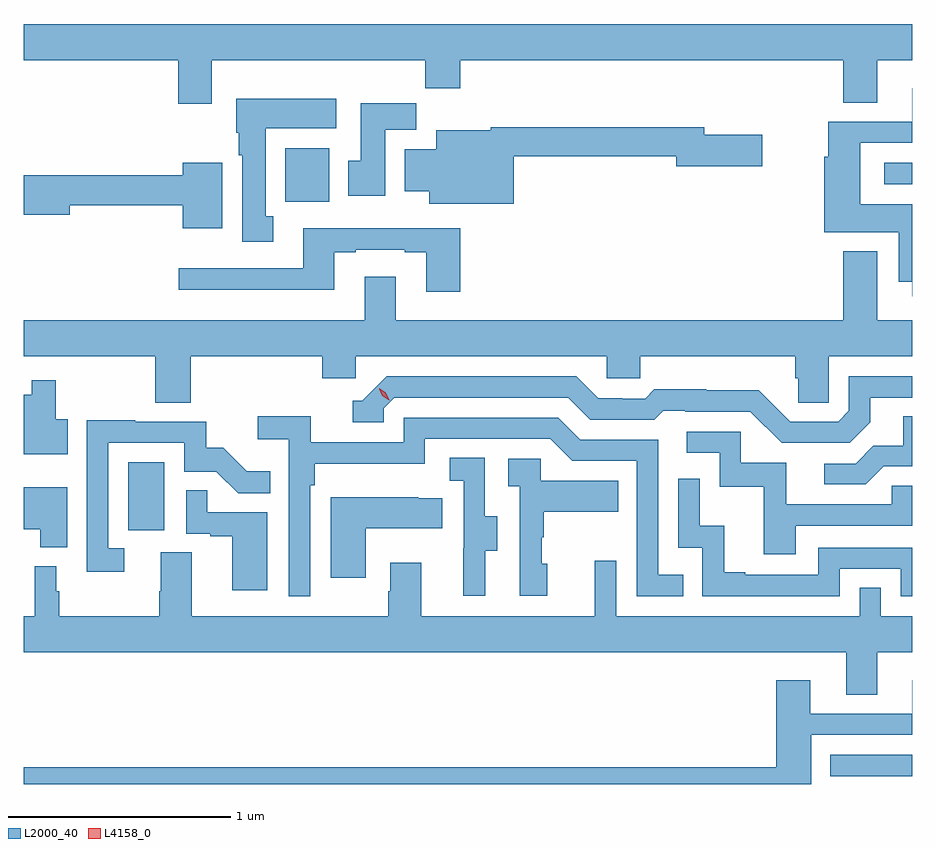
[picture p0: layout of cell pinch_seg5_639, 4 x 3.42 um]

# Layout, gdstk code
import gdstk
lib = gdstk.Library(unit=1e-6, precision=1e-09)
def R(c, l, rs):  # rectangles x0, y0, x1, y1
    for r in rs: c.add(gdstk.rectangle(r[:2], r[2:], *l))
def P(c, l, *ps):  # polygons
    for p in ps: c.add(gdstk.Polygon(p, *l))
L2000_40 = (2000, 40)
L4158_0 = (4158, 0)

pinch_seg5_639 = lib.new_cell('pinch_seg5_639')
R(pinch_seg5_639, L2000_40, [(1036.499,856.203,1036.87,856.299), (1033.34,857.31,1033.504,857.617), (1034.048,858.788,1034.245,859.03), (1036.743,858.867,1036.87,858.963)])
P(pinch_seg5_639, L2000_40, [(1033.717,859.424),(1034.677,859.424),(1034.677,859.3),(1034.834,859.3),(1034.834,859.424),(1036.559,859.424),(1036.559,859.234),(1036.711,859.234),(1036.711,859.424),(1036.87,859.424),(1036.87,859.588),(1032.87,859.588),(1032.87,859.424),(1033.565,859.424),(1033.565,859.23),(1033.717,859.23)],
  [(1036.87,858.778),(1036.636,858.778),(1036.636,859.053),(1036.87,859.053),(1036.87,859.3),(1036.868,859.3),(1036.868,859.149),(1036.49,859.149),(1036.49,858.99),(1036.472,858.99),(1036.472,858.65),(1036.808,858.65),(1036.808,858.428),(1036.868,858.428),(1036.868,858.363),(1036.87,858.363)],
  [(1033.993,858.722),(1033.96,858.722),(1033.96,859.118),(1034.278,859.118),(1034.278,859.252),(1033.826,859.252),(1033.826,859.098),(1033.838,859.098),(1033.838,858.998),(1033.853,858.998),(1033.853,858.609),(1033.993,858.609)],
  [(1034.497,859.112),(1034.636,859.112),(1034.636,859.231),(1034.387,859.231),(1034.387,858.972),(1034.33,858.972),(1034.33,858.816),(1034.497,858.816)],
  [(1035.076,858.994),(1035.806,858.994),(1035.806,858.947),(1036.195,858.947),(1036.195,859.089),(1035.934,859.089),(1035.934,859.123),(1034.972,859.123),(1034.972,859.111),(1034.726,859.111),(1034.726,859.024),(1034.585,859.024),(1034.585,858.836),(1034.696,858.836),(1034.696,858.779),(1035.076,858.779)],
  [(1033.765,858.964),(1033.586,858.964),(1033.586,858.908),(1032.87,858.908),(1032.87,858.73),(1033.078,858.73),(1033.078,858.772),(1033.586,858.772),(1033.586,858.668),(1033.765,858.668)],
  [(1034.834,858.67),(1034.129,858.67),(1034.129,858.489),(1033.569,858.489),(1033.569,858.392),(1034.269,858.392),(1034.269,858.561),(1034.365,858.561),(1034.365,858.573),(1034.585,858.573),(1034.585,858.561),(1034.681,858.561),(1034.681,858.384),(1034.834,858.384)],
  [(1035.495,857.994),(1035.645,857.994),(1035.645,858.092),(1036.343,858.092),(1036.343,857.994),(1036.357,857.994),(1036.357,857.884),(1036.494,857.884),(1036.494,858.092),(1036.87,858.092),(1036.87,858.256),(1036.711,858.256),(1036.711,858.565),(1036.559,858.565),(1036.559,858.256),(1034.545,858.256),(1034.545,858.451),(1034.405,858.451),(1034.405,858.256),(1032.87,858.256),(1032.87,858.092),(1033.462,858.092),(1033.462,857.884),(1033.622,857.884),(1033.622,858.092),(1034.213,858.092),(1034.213,857.994),(1034.364,857.994),(1034.364,858.092),(1035.495,858.092)],
  [(1036.681,857.797),(1036.681,857.907),(1036.87,857.907),(1036.87,858.003),(1036.584,858.003),(1036.584,857.847),(1036.536,857.799),(1036.32,857.799),(1036.178,857.941),(1035.942,857.941),(1035.942,857.944),(1035.709,857.944),(1035.667,857.901),(1035.564,857.901),(1035.564,857.904),(1035.457,857.904),(1035.358,858.003),(1034.505,858.003),(1034.394,857.892),(1034.351,857.892),(1034.351,857.796),(1034.49,857.796),(1034.49,857.859),(1034.538,857.907),(1035.321,857.907),(1035.42,857.808),(1035.709,857.808),(1035.748,857.847),(1035.847,857.847),(1035.847,857.844),(1036.14,857.844),(1036.281,857.703),(1036.587,857.703)],
  [(1033.069,857.809),(1033.015,857.809),(1033.015,857.986),(1032.906,857.986),(1032.906,857.92),(1032.87,857.92),(1032.87,857.651),(1033.069,857.651)],
  [(1034.16,857.513),(1034.18,857.513),(1034.18,857.609),(1034.676,857.609),(1034.676,857.721),(1035.24,857.721),(1035.339,857.622),(1035.63,857.622),(1035.63,857.013),(1035.839,857.013),(1035.839,857.109),(1035.726,857.109),(1035.726,857.718),(1035.376,857.718),(1035.277,857.817),(1034.58,857.817),(1034.58,857.706),(1034.162,857.706),(1034.162,857.822),(1033.923,857.822),(1033.923,857.72),(1034.064,857.72),(1034.064,857.013),(1034.16,857.013)],
  [(1036.741,857.598),(1036.87,857.598),(1036.87,857.822),(1036.829,857.822),(1036.829,857.69),(1036.694,857.69),(1036.614,857.61),(1036.473,857.61),(1036.473,857.517),(1036.66,857.517)],
  [(1033.324,857.229),(1033.251,857.229),(1033.251,857.703),(1033.593,857.703),(1033.593,857.574),(1033.737,857.574),(1033.835,857.476),(1033.979,857.476),(1033.979,857.575),(1033.875,857.575),(1033.768,857.682),(1033.692,857.682),(1033.692,857.799),(1033.373,857.799),(1033.373,857.804),(1033.155,857.804),(1033.155,857.124),(1033.324,857.124)],
  [(1036.345,857.331),(1036.87,857.331),(1036.87,857.511),(1036.777,857.511),(1036.777,857.427),(1036.303,857.427),(1036.303,857.613),(1036.098,857.613),(1036.098,857.754),(1035.855,857.754),(1035.855,857.658),(1036.002,857.658),(1036.002,857.505),(1036.201,857.505),(1036.201,857.202),(1036.345,857.202)],
  [(1034.947,857.218),(1035.001,857.218),(1035.001,857.373),(1034.946,857.373),(1034.946,857.636),(1034.787,857.636),(1034.787,857.533),(1034.85,857.533),(1034.85,857.229),(1034.849,857.229),(1034.849,857.016),(1034.947,857.016)],
  [(1035.226,857.16),(1035.201,857.16),(1035.201,857.279),(1035.211,857.279),(1035.211,857.393),(1035.545,857.393),(1035.545,857.533),(1035.198,857.533),(1035.198,857.631),(1035.051,857.631),(1035.051,857.507),(1035.102,857.507),(1035.102,857.016),(1035.226,857.016)],
  [(1036.542,857.136),(1036.818,857.136),(1036.818,857.013),(1036.87,857.013),(1036.87,857.232),(1036.446,857.232),(1036.446,857.109),(1036.117,857.109),(1036.117,857.122),(1036.022,857.122),(1036.022,857.33),(1035.912,857.33),(1035.912,857.542),(1035.816,857.542),(1035.816,857.232),(1035.924,857.232),(1035.924,857.013),(1036.542,857.013)],
  [(1033.066,857.503),(1032.87,857.503),(1032.87,857.315),(1032.944,857.315),(1032.944,857.234),(1033.066,857.234)],
  [(1033.966,857.391),(1033.697,857.391),(1033.697,857.489),(1033.602,857.489),(1033.602,857.295),(1033.709,857.295),(1033.709,857.283),(1033.808,857.283),(1033.808,857.04),(1033.966,857.04)],
  [(1034.41,857.318),(1034.753,857.318),(1034.753,857.455),(1034.645,857.455),(1034.645,857.458),(1034.252,857.458),(1034.252,857.097),(1034.41,857.097)],
  [(1036.711,856.76),(1036.87,856.76),(1036.87,856.924),(1036.728,856.924),(1036.728,857.051),(1036.632,857.051),(1036.632,856.924),(1035.537,856.924),(1035.537,857.173),(1035.44,857.173),(1035.44,856.924),(1034.659,856.924),(1034.659,857.164),(1034.519,857.164),(1034.519,857.036),(1034.512,857.036),(1034.512,856.924),(1033.627,856.924),(1033.627,857.21),(1033.487,857.21),(1033.487,857.036),(1033.48,857.036),(1033.48,856.924),(1033.03,856.924),(1033.03,857.036),(1033.018,857.036),(1033.018,857.149),(1032.92,857.149),(1032.92,856.924),(1032.87,856.924),(1032.87,856.76),(1036.571,856.76),(1036.571,856.57),(1036.711,856.57)],
  [(1036.414,856.389),(1036.87,856.389),(1036.87,856.636),(1036.868,856.636),(1036.868,856.485),(1036.411,856.485),(1036.411,856.636),(1036.256,856.636),(1036.256,856.244),(1032.87,856.244),(1032.87,856.168),(1036.414,856.168)])
P(pinch_seg5_639, L4158_0, [(1034.516,857.895),(1034.485,857.915),(1034.47,857.947),(1034.47,857.948),(1034.47,857.948),(1034.5,857.928),(1034.516,857.895),(1034.516,857.895)])

lib.write_gds('pinch_seg5_639.gds')
